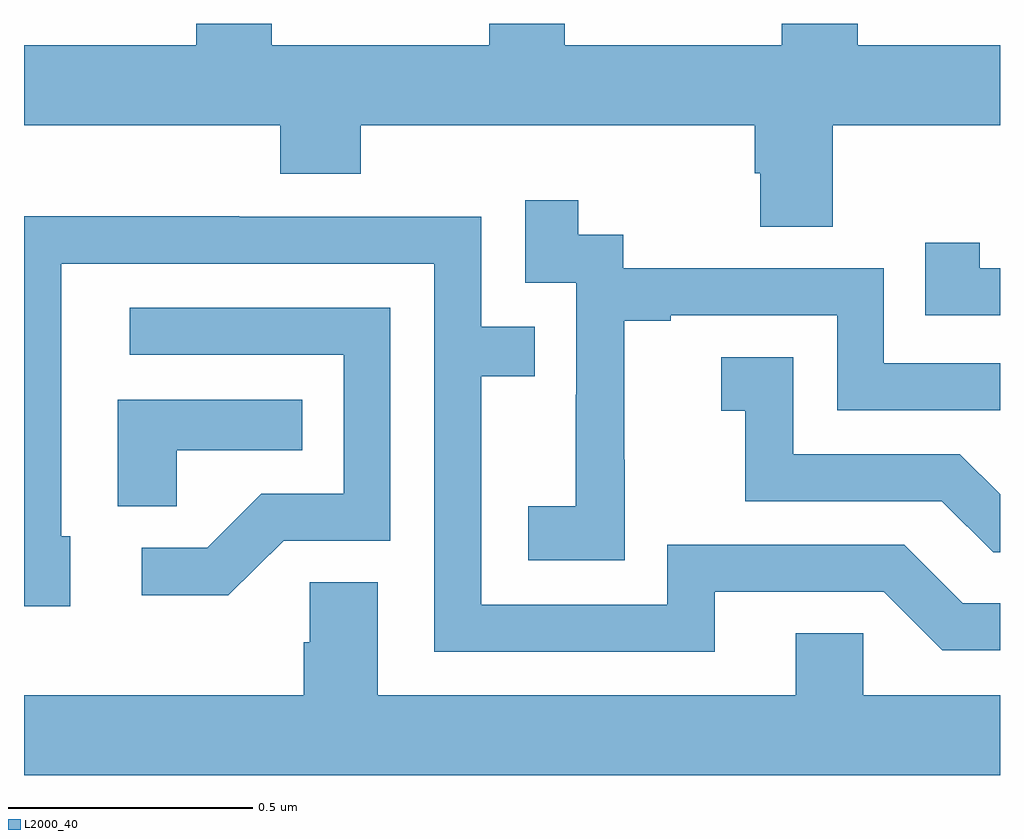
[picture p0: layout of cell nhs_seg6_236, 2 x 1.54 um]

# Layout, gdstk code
import gdstk
lib = gdstk.Library(unit=1e-6, precision=1e-09)
def P(c, l, *ps):  # polygons
    for p in ps: c.add(gdstk.Polygon(p, *l))
L2000_40 = (2000, 40)

nhs_seg6_236 = lib.new_cell('nhs_seg6_236')
P(nhs_seg6_236, L2000_40, [(114.657,991.292),(115,991.292),(115,991.456),(114.708,991.456),(114.708,991.5),(114.553,991.5),(114.553,991.456),(114.108,991.456),(114.108,991.5),(113.953,991.5),(113.953,991.456),(113.508,991.456),(113.508,991.5),(113.353,991.5),(113.353,991.456),(113,991.456),(113,991.292),(113.525,991.292),(113.525,991.193),(113.69,991.193),(113.69,991.292),(114.497,991.292),(114.497,991.194),(114.509,991.194),(114.509,991.084),(114.657,991.084)],
  [(114.231,990.607),(114.23,990.607),(114.23,990.891),(114.325,990.891),(114.325,990.903),(114.666,990.903),(114.666,990.708),(115,990.708),(115,990.804),(114.762,990.804),(114.762,990.999),(114.228,990.999),(114.228,991.068),(114.136,991.068),(114.136,991.138),(114.027,991.138),(114.027,990.969),(114.132,990.969),(114.132,990.74),(114.131,990.74),(114.131,990.511),(114.033,990.511),(114.033,990.401),(114.231,990.401)],
  [(114.415,990.336),(114.762,990.336),(114.882,990.216),(115,990.216),(115,990.312),(114.924,990.312),(114.804,990.432),(114.318,990.432),(114.318,990.309),(113.937,990.309),(113.937,990.778),(114.047,990.778),(114.047,990.879),(113.937,990.879),(113.937,991.104),(113.441,991.104),(113.441,991.106),(113,991.106),(113,990.306),(113.095,990.306),(113.095,990.45),(113.076,990.45),(113.076,991.008),(113.841,991.008),(113.841,990.213),(114.415,990.213)],
  [(115,990.999),(114.958,990.999),(114.958,991.051),(114.847,991.051),(114.847,990.903),(115,990.903)],
  [(113.532,990.441),(113.751,990.441),(113.751,990.918),(113.217,990.918),(113.217,990.822),(113.655,990.822),(113.655,990.537),(113.486,990.537),(113.375,990.426),(113.241,990.426),(113.241,990.329),(113.419,990.329)],
  [(115,990.536),(114.918,990.618),(114.576,990.618),(114.576,990.817),(114.429,990.817),(114.429,990.707),(114.478,990.707),(114.478,990.522),(114.881,990.522),(114.986,990.417),(115,990.417)],
  [(113.313,990.626),(113.57,990.626),(113.57,990.73),(113.192,990.73),(113.192,990.511),(113.313,990.511)],
  [(115,990.124),(114.72,990.124),(114.72,990.251),(114.581,990.251),(114.581,990.124),(113.725,990.124),(113.725,990.356),(113.586,990.356),(113.586,990.233),(113.573,990.233),(113.573,990.124),(113,990.124),(113,989.96),(115,989.96)])

lib.write_gds('nhs_seg6_236.gds')
